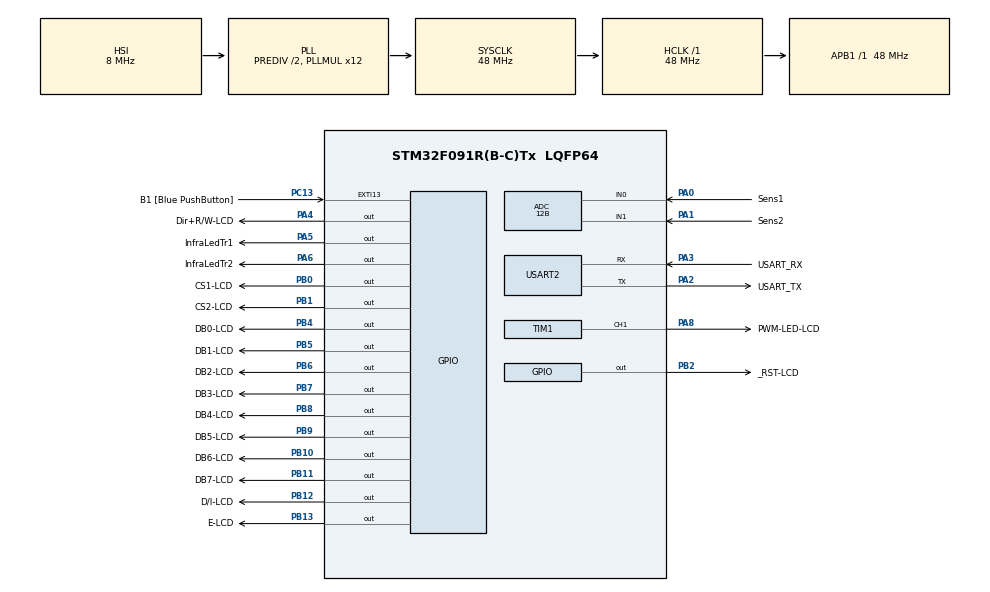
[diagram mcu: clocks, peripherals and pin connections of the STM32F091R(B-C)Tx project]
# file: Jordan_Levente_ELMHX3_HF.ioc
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ADC.ClockPrescaler=ADC_CLOCK_ASYNC_DIV1
ADC.ContinuousConvMode=ENABLE
ADC.DMAContinuousRequests=ENABLE
ADC.EOCSelection=ADC_EOC_SEQ_CONV
ADC.EnableAnalogWatchDog=false
ADC.Overrun=ADC_OVR_DATA_OVERWRITTEN
ADC.Resolution=ADC_RESOLUTION_12B
ADC.SamplingTime=ADC_SAMPLETIME_71CYCLES_5
Dma.ADC.0.Direction=DMA_PERIPH_TO_MEMORY
Dma.ADC.0.Instance=DMA1_Channel1
Dma.ADC.0.MemDataAlignment=DMA_MDATAALIGN_HALFWORD
Dma.ADC.0.MemInc=DMA_MINC_ENABLE
Dma.ADC.0.Mode=DMA_CIRCULAR
Dma.ADC.0.PeriphDataAlignment=DMA_PDATAALIGN_HALFWORD
Dma.ADC.0.PeriphInc=DMA_PINC_DISABLE
Dma.ADC.0.Priority=DMA_PRIORITY_LOW
Dma.Request0=ADC
Mcu.Family=STM32F0
Mcu.Name=STM32F091R(B-C)Tx
Mcu.Package=LQFP64
NVIC.DMA1_Ch1_IRQn=true\:0\:0\:false\:false\:true\:false\:true\:true
NVIC.EXTI4_15_IRQn=true\:0\:0\:false\:false\:true\:true\:true\:true
PA0.GPIO_Label=Sens1
PA0.Mode=IN0
PA0.Signal=ADC_IN0
PA1.GPIO_Label=Sens2
PA1.Mode=IN1
PA1.Signal=ADC_IN1
PA13.GPIO_Label=TMS
PA13.Mode=Serial_Wire
PA13.Signal=SYS_SWDIO
PA14.GPIO_Label=TCK
PA14.Mode=Serial_Wire
PA14.Signal=SYS_SWCLK
PA2.GPIO_Label=USART_TX
PA2.GPIO_Mode=GPIO_MODE_AF_PP
PA2.GPIO_PuPd=GPIO_NOPULL
PA2.GPIO_Speed=GPIO_SPEED_FREQ_LOW
PA2.Mode=Asynchronous
PA2.Signal=USART2_TX
PA3.GPIO_Label=USART_RX
PA3.GPIO_Mode=GPIO_MODE_AF_PP
PA3.GPIO_PuPd=GPIO_NOPULL
PA3.GPIO_Speed=GPIO_SPEED_FREQ_LOW
PA3.Mode=Asynchronous
PA3.Signal=USART2_RX
PA4.GPIO_Label=Dir+R/W-LCD
PA4.Signal=GPIO_Output
PA5.GPIO_Label=InfraLedTr1
PA5.GPIO_Mode=GPIO_MODE_OUTPUT_PP
PA5.GPIO_PuPd=GPIO_NOPULL
PA5.GPIO_Speed=GPIO_SPEED_FREQ_LOW
PA5.Signal=GPIO_Output
PA6.GPIO_Label=InfraLedTr2
PA6.Signal=GPIO_Output
PA8.GPIO_Label=PWM-LED-LCD
PA8.Signal=S_TIM1_CH1
PB0.GPIO_Label=CS1-LCD
PB0.PinState=GPIO_PIN_SET
PB0.Signal=GPIO_Output
PB1.GPIO_Label=CS2-LCD
PB1.PinState=GPIO_PIN_SET
PB1.Signal=GPIO_Output
PB10.GPIO_Label=DB6-LCD
PB10.Signal=GPIO_Output
PB11.GPIO_Label=DB7-LCD
PB11.Signal=GPIO_Output
PB12.GPIO_Label=D/I-LCD
PB12.Signal=GPIO_Output
PB13.GPIO_Label=E-LCD
PB13.Signal=GPIO_Output
PB2.GPIO_Label=_RST-LCD
PB2.PinState=GPIO_PIN_SET
PB2.Signal=GPIO_Output
PB4.GPIO_Label=DB0-LCD
PB4.Signal=GPIO_Output
PB5.GPIO_Label=DB1-LCD
PB5.Signal=GPIO_Output
PB6.GPIO_Label=DB2-LCD
PB6.Signal=GPIO_Output
PB7.GPIO_Label=DB3-LCD
PB7.Signal=GPIO_Output
PB8.GPIO_Label=DB4-LCD
PB8.Signal=GPIO_Output
PB9.GPIO_Label=DB5-LCD
PB9.Signal=GPIO_Output
PC13.GPIO_Label=B1 [Blue PushButton]
PC13.GPIO_ModeDefaultEXTI=GPIO_MODE_IT_FALLING
PC13.Signal=GPXTI13
PC14OSC32_IN.Mode=LSE-External-Oscillator
PC14OSC32_IN.Signal=RCC_OSC32_IN
PC15OSC32_OUT.Mode=LSE-External-Oscillator
PC15OSC32_OUT.Signal=RCC_OSC32_OUT
PF0-OSC_IN.Mode=HSE-External-Clock-Source
PF0-OSC_IN.Signal=RCC_OSC_IN
PF1-OSC_OUT.Signal=RCC_OSC_OUT
ProjectManager.HeapSize=0x200
ProjectManager.StackSize=0x400
ProjectManager.TargetToolchain=STM32CubeIDE
RCC.AHBFreq_Value=48000000
RCC.APB1Freq_Value=48000000
RCC.APB1TimFreq_Value=48000000
RCC.FLatency-AdvancedSettings=FLASH_LATENCY_1
RCC.HCLKFreq_Value=48000000
RCC.PLLDivider=RCC_PREDIV_DIV2
RCC.PLLMUL=RCC_PLL_MUL12
RCC.PREFETCH_ENABLE-AdvancedSettings=1
RCC.SYSCLKFreq_VALUE=48000000
RCC.SYSCLKSource=RCC_SYSCLKSOURCE_PLLCLK
SH.S_TIM1_CH1.0=TIM1_CH1,PWM Generation1 CH1
TIM1.Channel-PWM\ Generation1\ CH1=TIM_CHANNEL_1
USART2.VirtualMode=VM_ASYNC
USART2.VirtualMode-Asynchronous=VM_ASYNC
VP_TIM1_VS_ClockSourceINT.Mode=Internal
board=NUCLEO-F091RC

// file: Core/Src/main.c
/* USER CODE BEGIN Header */
/**
 ******************************************************************************
 * @file           : main.c
 * @brief          : Main program body
 * @author         : Jordán Levente Tibor
 * @neptun:        : ELMHX3
 ******************************************************************************
 * @attention
 *
 * Copyright (c) 2025 STMicroelectronics.
 * All rights reserved.
 *
 * This software is licensed under terms that can be found in the LICENSE file
 * in the root directory of this software component.
 * If no LICENSE file comes with this software, it is provided AS-IS.
 *
 ******************************************************************************
 */
/* USER CODE END Header */
#include "main.h"

/* USER CODE BEGIN Includes */
#include "lcd_driver_bsp.h"
#include "backlight_pwm.h"
#include "stdint.h"
#include <stdio.h>
#include <string.h>

//#include "adc.h"

/* USER CODE END Includes */

/* USER CODE BEGIN PD */

// --- Szenzor állapot definíciók ---
#define SENSOR_PRESSED_THRESHOLD_LOW   2950
#define SENSOR_PRESSED_THRESHOLD_HIGH  3300

#define SENSOR_STATE_NOT_PRESSED 0
#define SENSOR_STATE_PRESSED     1

/* USER CODE END PD */

ADC_HandleTypeDef hadc;
DMA_HandleTypeDef hdma_adc;

TIM_HandleTypeDef htim1;

UART_HandleTypeDef huart2;

/* USER CODE BEGIN PV */

	volatile uint8_t brightness_percentage = 100;

	volatile uint16_t adc_data[2];

	volatile static uint16_t sensor1_state = SENSOR_STATE_NOT_PRESSED;
	volatile static uint16_t sensor2_state = SENSOR_STATE_NOT_PRESSED;

	char uart_buf[100];

/* USER CODE END PV */

void SystemClock_Config(void);
static void MX_GPIO_Init(void);
static void MX_DMA_Init(void);
static void MX_USART2_UART_Init(void);
static void MX_TIM1_Init(void);
static void MX_ADC_Init(void);
/* USER CODE BEGIN PFP */
void WaitForStartCondition(void);

/* USER CODE END PFP */

/* USER CODE BEGIN 0 */

void WaitForStartCondition(void) {
    uint16_t local_sensor1_raw_value;
    uint16_t local_sensor2_raw_value;
    uint32_t both_pressed_start_time = 0;
    uint8_t  both_were_pressed_flag = 0;

    HAL_GPIO_WritePin(InfraLedTr1_GPIO_Port, InfraLedTr1_Pin, GPIO_PIN_SET);
    HAL_GPIO_WritePin(InfraLedTr2_GPIO_Port, InfraLedTr2_Pin, GPIO_PIN_SET);

    while (1) {
        local_sensor1_raw_value = adc_data[0]; // Olvassuk a DMA által frissített adatot

        if ((local_sensor1_raw_value >= SENSOR_PRESSED_THRESHOLD_LOW) && (local_sensor1_raw_value <= SENSOR_PRESSED_THRESHOLD_HIGH)) {
            sensor1_state = SENSOR_STATE_PRESSED;
        } else {
            sensor1_state = SENSOR_STATE_NOT_PRESSED;
        }

        if ((local_sensor2_raw_value >= SENSOR_PRESSED_THRESHOLD_LOW) && (local_sensor2_raw_value <= SENSOR_PRESSED_THRESHOLD_HIGH)) {
            sensor2_state = SENSOR_STATE_PRESSED;
        } else {
            sensor2_state = SENSOR_STATE_NOT_PRESSED;
        }

        if (sensor1_state == SENSOR_STATE_PRESSED && sensor2_state == SENSOR_STATE_PRESSED) {
            if (!both_were_pressed_flag) {

                both_pressed_start_time = HAL_GetTick();
                both_were_pressed_flag = 1;
            } else {

                if (HAL_GetTick() - both_pressed_start_time >= 2000) {
                    // Feltétel teljesült, kiléphetünk a várakozásból
                    break;
                }
            }
        } else {
            // Legalább az egyik szenzor nincs lenyomva, vagy nem volt folyamatos
            both_were_pressed_flag = 0; // Reseteljük a jelzőt
        }

        HAL_Delay(20);
    }

    // Miután kiléptünk a ciklusból (a játék indulhat):
    LCD_Buffer_Init();

    HAL_Delay(1000); // Rövid vizuális visszajelzés
}

/* USER CODE END 0 */

int main(void)
{

  /* MCU Configuration--------------------------------------------------------*/

  /* Reset of all peripherals, Initializes the Flash interface and the Systick. */
  HAL_Init();

  /* Configure the system clock */
  SystemClock_Config();

  /* Initialize all configured peripherals */
  MX_GPIO_Init();
  MX_DMA_Init();
  MX_USART2_UART_Init();
  MX_TIM1_Init();
  MX_ADC_Init();
  /* USER CODE BEGIN 2 */

	backlight_init(&htim1); // Initialize and start the backlight PWM

	backlight_set_brightness(&htim1, brightness_percentage); // Set backlight to 50% brightness

	Display_On();
	Clear_Display();
	LCD_Buffer_Init();

	//Draw_R_Letter();

	HAL_ADCEx_Calibration_Start(&hadc);
	HAL_ADC_Start_DMA(&hadc, (uint32_t*)adc_data, 2);

	HAL_GPIO_WritePin(InfraLedTr1_GPIO_Port, InfraLedTr1_Pin, SET);
	HAL_GPIO_WritePin(InfraLedTr2_GPIO_Port, InfraLedTr2_Pin, SET);

	  WaitForStartCondition(); //START feltétel

//	volatile uint16_t sensor1_raw_value;
//	volatile uint16_t sensor2_raw_value;

  /* USER CODE END 2 */

  /* Infinite loop */
  /* USER CODE BEGIN WHILE */
	while (1)
	{

		Clear_Display();

		LCD_Set_Pixel(10, 20, 1);
		LCD_Set_Pixel(15, 25, 1);
		LCD_Set_Pixel(17, 20, 1);
		LCD_Set_Pixel(15, 55, 1);

		LCD_Refresh_Display();

		HAL_Delay(1500);

		Clear_Display();

		HAL_Delay(1500);

//		uint16_t sensor1_raw_value = adc_data[0];
//		uint16_t sensor2_raw_value = adc_data[1];

		if ((adc_data[0] >= SENSOR_PRESSED_THRESHOLD_LOW) && (adc_data[0] <= SENSOR_PRESSED_THRESHOLD_HIGH))
		{
			sensor1_state = SENSOR_STATE_PRESSED;
		}
		else
		{
			sensor1_state = SENSOR_STATE_NOT_PRESSED;
		}

		if ((adc_data[1] >= SENSOR_PRESSED_THRESHOLD_LOW) && (adc_data[1] <= SENSOR_PRESSED_THRESHOLD_HIGH))
		{
			sensor2_state = SENSOR_STATE_PRESSED;
		}
		else
		{
			sensor2_state = SENSOR_STATE_NOT_PRESSED;
		}

		sprintf(uart_buf, "Szenzor1: %s, Szenzor2: %s ",
		            (sensor1_state == SENSOR_STATE_PRESSED) ? "LENYOMVA" : "NINCS LENYOMVA",
		            (sensor2_state == SENSOR_STATE_PRESSED) ? "LENYOMVA" : "NINCS LENYOMVA" );

		HAL_UART_Transmit(&huart2, (uint8_t*)uart_buf, strlen(uart_buf), HAL_MAX_DELAY);

		HAL_Delay(100);

    /* USER CODE END WHILE */

	}
}

void SystemClock_Config(void)
{
  RCC_OscInitTypeDef RCC_OscInitStruct = {0};
  RCC_ClkInitTypeDef RCC_ClkInitStruct = {0};
  RCC_PeriphCLKInitTypeDef PeriphClkInit = {0};

  /** Initializes the RCC Oscillators according to the specified parameters
  * in the RCC_OscInitTypeDef structure.
  */
  RCC_OscInitStruct.OscillatorType = RCC_OSCILLATORTYPE_HSI|RCC_OSCILLATORTYPE_HSI14;
  RCC_OscInitStruct.HSIState = RCC_HSI_ON;
  RCC_OscInitStruct.HSI14State = RCC_HSI14_ON;
  RCC_OscInitStruct.HSICalibrationValue = RCC_HSICALIBRATION_DEFAULT;
  RCC_OscInitStruct.HSI14CalibrationValue = 16;
  RCC_OscInitStruct.PLL.PLLState = RCC_PLL_ON;
  RCC_OscInitStruct.PLL.PLLSource = RCC_PLLSOURCE_HSI;
  RCC_OscInitStruct.PLL.PLLMUL = RCC_PLL_MUL12;
  RCC_OscInitStruct.PLL.PREDIV = RCC_PREDIV_DIV2;
  if (HAL_RCC_OscConfig(&RCC_OscInitStruct) != HAL_OK)
  {
    Error_Handler();
  }

  /** Initializes the CPU, AHB and APB buses clocks
  */
  RCC_ClkInitStruct.ClockType = RCC_CLOCKTYPE_HCLK|RCC_CLOCKTYPE_SYSCLK
                              |RCC_CLOCKTYPE_PCLK1;
  RCC_ClkInitStruct.SYSCLKSource = RCC_SYSCLKSOURCE_PLLCLK;
  RCC_ClkInitStruct.AHBCLKDivider = RCC_SYSCLK_DIV1;
  RCC_ClkInitStruct.APB1CLKDivider = RCC_HCLK_DIV1;

  if (HAL_RCC_ClockConfig(&RCC_ClkInitStruct, FLASH_LATENCY_1) != HAL_OK)
  {
    Error_Handler();
  }
  PeriphClkInit.PeriphClockSelection = RCC_PERIPHCLK_USART2;
  PeriphClkInit.Usart2ClockSelection = RCC_USART2CLKSOURCE_PCLK1;
  if (HAL_RCCEx_PeriphCLKConfig(&PeriphClkInit) != HAL_OK)
  {
    Error_Handler();
  }
}

static void MX_ADC_Init(void)
{

  ADC_ChannelConfTypeDef sConfig = {0};

  /** Configure the global features of the ADC (Clock, Resolution, Data Alignment and number of conversion)
  */
  hadc.Instance = ADC1;
  hadc.Init.ClockPrescaler = ADC_CLOCK_ASYNC_DIV1;
  hadc.Init.Resolution = ADC_RESOLUTION_12B;
  hadc.Init.DataAlign = ADC_DATAALIGN_RIGHT;
  hadc.Init.ScanConvMode = ADC_SCAN_DIRECTION_FORWARD;
  hadc.Init.EOCSelection = ADC_EOC_SEQ_CONV;
  hadc.Init.LowPowerAutoWait = DISABLE;
  hadc.Init.LowPowerAutoPowerOff = DISABLE;
  hadc.Init.ContinuousConvMode = ENABLE;
  hadc.Init.DiscontinuousConvMode = DISABLE;
  hadc.Init.ExternalTrigConv = ADC_SOFTWARE_START;
  hadc.Init.ExternalTrigConvEdge = ADC_EXTERNALTRIGCONVEDGE_NONE;
  hadc.Init.DMAContinuousRequests = ENABLE;
  hadc.Init.Overrun = ADC_OVR_DATA_OVERWRITTEN;
  if (HAL_ADC_Init(&hadc) != HAL_OK)
  {
    Error_Handler();
  }

  /** Configure for the selected ADC regular channel to be converted.
  */
  sConfig.Channel = ADC_CHANNEL_0;
  sConfig.Rank = ADC_RANK_CHANNEL_NUMBER;
  sConfig.SamplingTime = ADC_SAMPLETIME_71CYCLES_5;
  if (HAL_ADC_ConfigChannel(&hadc, &sConfig) != HAL_OK)
  {
    Error_Handler();
  }

  /** Configure for the selected ADC regular channel to be converted.
  */
  sConfig.Channel = ADC_CHANNEL_1;
  if (HAL_ADC_ConfigChannel(&hadc, &sConfig) != HAL_OK)
  {
    Error_Handler();
  }

}

static void MX_TIM1_Init(void)
{

  TIM_ClockConfigTypeDef sClockSourceConfig = {0};
  TIM_MasterConfigTypeDef sMasterConfig = {0};
  TIM_OC_InitTypeDef sConfigOC = {0};
  TIM_BreakDeadTimeConfigTypeDef sBreakDeadTimeConfig = {0};

  htim1.Instance = TIM1;
  htim1.Init.Prescaler = 0;
  htim1.Init.CounterMode = TIM_COUNTERMODE_UP;
  htim1.Init.Period = 65535;
  htim1.Init.ClockDivision = TIM_CLOCKDIVISION_DIV1;
  htim1.Init.RepetitionCounter = 0;
  htim1.Init.AutoReloadPreload = TIM_AUTORELOAD_PRELOAD_DISABLE;
  if (HAL_TIM_Base_Init(&htim1) != HAL_OK)
  {
    Error_Handler();
  }
  sClockSourceConfig.ClockSource = TIM_CLOCKSOURCE_INTERNAL;
  if (HAL_TIM_ConfigClockSource(&htim1, &sClockSourceConfig) != HAL_OK)
  {
    Error_Handler();
  }
  if (HAL_TIM_PWM_Init(&htim1) != HAL_OK)
  {
    Error_Handler();
  }
  sMasterConfig.MasterOutputTrigger = TIM_TRGO_RESET;
  sMasterConfig.MasterSlaveMode = TIM_MASTERSLAVEMODE_DISABLE;
  if (HAL_TIMEx_MasterConfigSynchronization(&htim1, &sMasterConfig) != HAL_OK)
  {
    Error_Handler();
  }
  sConfigOC.OCMode = TIM_OCMODE_PWM1;
  sConfigOC.Pulse = 0;
  sConfigOC.OCPolarity = TIM_OCPOLARITY_HIGH;
  sConfigOC.OCNPolarity = TIM_OCNPOLARITY_HIGH;
  sConfigOC.OCFastMode = TIM_OCFAST_DISABLE;
  sConfigOC.OCIdleState = TIM_OCIDLESTATE_RESET;
  sConfigOC.OCNIdleState = TIM_OCNIDLESTATE_RESET;
  if (HAL_TIM_PWM_ConfigChannel(&htim1, &sConfigOC, TIM_CHANNEL_1) != HAL_OK)
  {
    Error_Handler();
  }
  sBreakDeadTimeConfig.OffStateRunMode = TIM_OSSR_DISABLE;
  sBreakDeadTimeConfig.OffStateIDLEMode = TIM_OSSI_DISABLE;
  sBreakDeadTimeConfig.LockLevel = TIM_LOCKLEVEL_OFF;
  sBreakDeadTimeConfig.DeadTime = 0;
  sBreakDeadTimeConfig.BreakState = TIM_BREAK_DISABLE;
  sBreakDeadTimeConfig.BreakPolarity = TIM_BREAKPOLARITY_HIGH;
  sBreakDeadTimeConfig.AutomaticOutput = TIM_AUTOMATICOUTPUT_DISABLE;
  if (HAL_TIMEx_ConfigBreakDeadTime(&htim1, &sBreakDeadTimeConfig) != HAL_OK)
  {
    Error_Handler();
  }
  HAL_TIM_MspPostInit(&htim1);

}

static void MX_USART2_UART_Init(void)
{

  huart2.Instance = USART2;
  huart2.Init.BaudRate = 115200;
  huart2.Init.WordLength = UART_WORDLENGTH_8B;
  huart2.Init.StopBits = UART_STOPBITS_1;
  huart2.Init.Parity = UART_PARITY_NONE;
  huart2.Init.Mode = UART_MODE_TX_RX;
  huart2.Init.HwFlowCtl = UART_HWCONTROL_NONE;
  huart2.Init.OverSampling = UART_OVERSAMPLING_16;
  huart2.Init.OneBitSampling = UART_ONE_BIT_SAMPLE_DISABLE;
  huart2.AdvancedInit.AdvFeatureInit = UART_ADVFEATURE_NO_INIT;
  if (HAL_UART_Init(&huart2) != HAL_OK)
  {
    Error_Handler();
  }

}

static void MX_DMA_Init(void)
{

  /* DMA controller clock enable */
  __HAL_RCC_DMA1_CLK_ENABLE();

  /* DMA interrupt init */
  /* DMA1_Ch1_IRQn interrupt configuration */
  HAL_NVIC_SetPriority(DMA1_Ch1_IRQn, 0, 0);
  HAL_NVIC_EnableIRQ(DMA1_Ch1_IRQn);

}

static void MX_GPIO_Init(void)
{
  GPIO_InitTypeDef GPIO_InitStruct = {0};

  /* GPIO Ports Clock Enable */
  __HAL_RCC_GPIOC_CLK_ENABLE();
  __HAL_RCC_GPIOF_CLK_ENABLE();
  __HAL_RCC_GPIOA_CLK_ENABLE();
  __HAL_RCC_GPIOB_CLK_ENABLE();

  /*Configure GPIO pin Output Level */
  HAL_GPIO_WritePin(GPIOA, Dir_R_W_LCD_Pin|InfraLedTr1_Pin|InfraLedTr2_Pin, GPIO_PIN_RESET);

  /*Configure GPIO pin Output Level */
  HAL_GPIO_WritePin(GPIOB, CS1_LCD_Pin|CS2_LCD_Pin|_RST_LCD_Pin, GPIO_PIN_SET);

  /*Configure GPIO pin Output Level */
  HAL_GPIO_WritePin(GPIOB, DB6_LCD_Pin|DB7_LCD_Pin|D_I_LCD_Pin|E_LCD_Pin
                          |DB0_LCD_Pin|DB1_LCD_Pin|DB2_LCD_Pin|DB3_LCD_Pin
                          |DB4_LCD_Pin|DB5_LCD_Pin, GPIO_PIN_RESET);

  /*Configure GPIO pin : B1_Pin */
  GPIO_InitStruct.Pin = B1_Pin;
  GPIO_InitStruct.Mode = GPIO_MODE_IT_FALLING;
  GPIO_InitStruct.Pull = GPIO_NOPULL;
  HAL_GPIO_Init(B1_GPIO_Port, &GPIO_InitStruct);

  /*Configure GPIO pins : Dir_R_W_LCD_Pin InfraLedTr1_Pin InfraLedTr2_Pin */
  GPIO_InitStruct.Pin = Dir_R_W_LCD_Pin|InfraLedTr1_Pin|InfraLedTr2_Pin;
  GPIO_InitStruct.Mode = GPIO_MODE_OUTPUT_PP;
  GPIO_InitStruct.Pull = GPIO_NOPULL;
  GPIO_InitStruct.Speed = GPIO_SPEED_FREQ_LOW;
  HAL_GPIO_Init(GPIOA, &GPIO_InitStruct);

  /*Configure GPIO pins : CS1_LCD_Pin CS2_LCD_Pin _RST_LCD_Pin DB6_LCD_Pin
                           DB7_LCD_Pin D_I_LCD_Pin E_LCD_Pin DB0_LCD_Pin
                           DB1_LCD_Pin DB2_LCD_Pin DB3_LCD_Pin DB4_LCD_Pin
                           DB5_LCD_Pin */
  GPIO_InitStruct.Pin = CS1_LCD_Pin|CS2_LCD_Pin|_RST_LCD_Pin|DB6_LCD_Pin
                          |DB7_LCD_Pin|D_I_LCD_Pin|E_LCD_Pin|DB0_LCD_Pin
                          |DB1_LCD_Pin|DB2_LCD_Pin|DB3_LCD_Pin|DB4_LCD_Pin
                          |DB5_LCD_Pin;
  GPIO_InitStruct.Mode = GPIO_MODE_OUTPUT_PP;
  GPIO_InitStruct.Pull = GPIO_NOPULL;
  GPIO_InitStruct.Speed = GPIO_SPEED_FREQ_LOW;
  HAL_GPIO_Init(GPIOB, &GPIO_InitStruct);

  /* EXTI interrupt init*/
  HAL_NVIC_SetPriority(EXTI4_15_IRQn, 0, 0);
  HAL_NVIC_EnableIRQ(EXTI4_15_IRQn);

}

/* USER CODE BEGIN 4 */

void HAL_GPIO_EXTI_Callback(uint16_t GPIO_Pin){
	if(GPIO_Pin == B1_Pin){
		if(brightness_percentage >= 100){
			brightness_percentage = 20;
		}
		else{
			brightness_percentage += 20;
		}

		backlight_set_brightness(&htim1, brightness_percentage);
	}
}

/* USER CODE END 4 */

void Error_Handler(void)
{
	__disable_irq();
	while (1)
	{
	}
}
